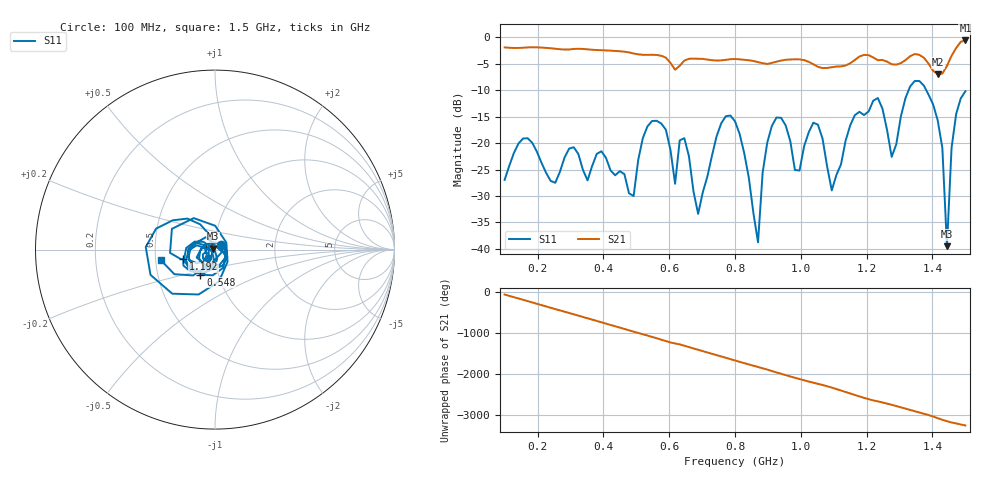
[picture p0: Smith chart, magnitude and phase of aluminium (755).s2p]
! NanoVNA-App
! Date: 2025-09-25 15:01:09
! Start: 100MHz Stop: 1,5GHz Points: 101
! S-Parameter data: F S11 S21 S12 S22
# Hz S RI R 50
!  Frequency  S11_Real  S11_Imag  S21_Real  S21_Imag  S12_Real  S12_Imag  S22_Real  S22_Imag
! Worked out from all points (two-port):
!   101 points, 100 MHz to 1.5 GHz, reference 50 ohm
!   highest |S21| = -0.61 dB at 1.5 GHz (marker M1); lowest = -7.0 dB at 1.416 GHz (marker M2)
!   |S21| within 3 dB of the highest: start of sweep to 580.4 MHz; 1.457 GHz to end of sweep (the widest 2 of 4)
!   lowest |S11| = -39.5 dB at 1.444 GHz (marker M3), VSWR 1.02, Z = 49.1 + j0.533 ohm
!   |S11| at or under -10 dB: start of sweep to 1.328 GHz; 1.381 GHz to end of sweep
!   S12 and S22 are empty: the file has one direction only
!   S11 on the Smith chart (normalised r, x): 100 MHz: 1.07, +0.06; 548 MHz: 0.82, -0.24; 1.192 GHz: 0.70, -0.08; 1.5 GHz: 0.53, -0.07
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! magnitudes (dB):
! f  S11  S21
! 100 MHz  -27.0  -1.9
! 156 MHz  -19.1  -2.0
! 338 MHz  -25.1  -2.2
! 492 MHz  -30.0  -3.1
! 548 MHz  -15.8  -3.3
! 576 MHz  -16.3  -3.5
! 618 MHz  -27.7  -6.1
! 646 MHz  -19.1  -4.4
! 688 MHz  -33.4  -4.1
! 800 MHz  -15.9  -4.1
! 870 MHz  -38.8  -4.7
! 912 MHz  -16.8  -4.8
! 996 MHz  -25.2  -4.2
! 1.038 GHz  -16.2  -5.1
! 1.094 GHz  -28.9  -5.7
! 1.192 GHz  -14.7  -3.3
! 1.276 GHz  -22.6  -5.1
! 1.346 GHz  -8.3  -3.2
! 1.416 GHz  -15.7  -7.0
! 1.444 GHz  -39.5  -5.4
! 1.458 GHz  -20.9  -3.5
! 1.5 GHz  -10.2  -0.6
